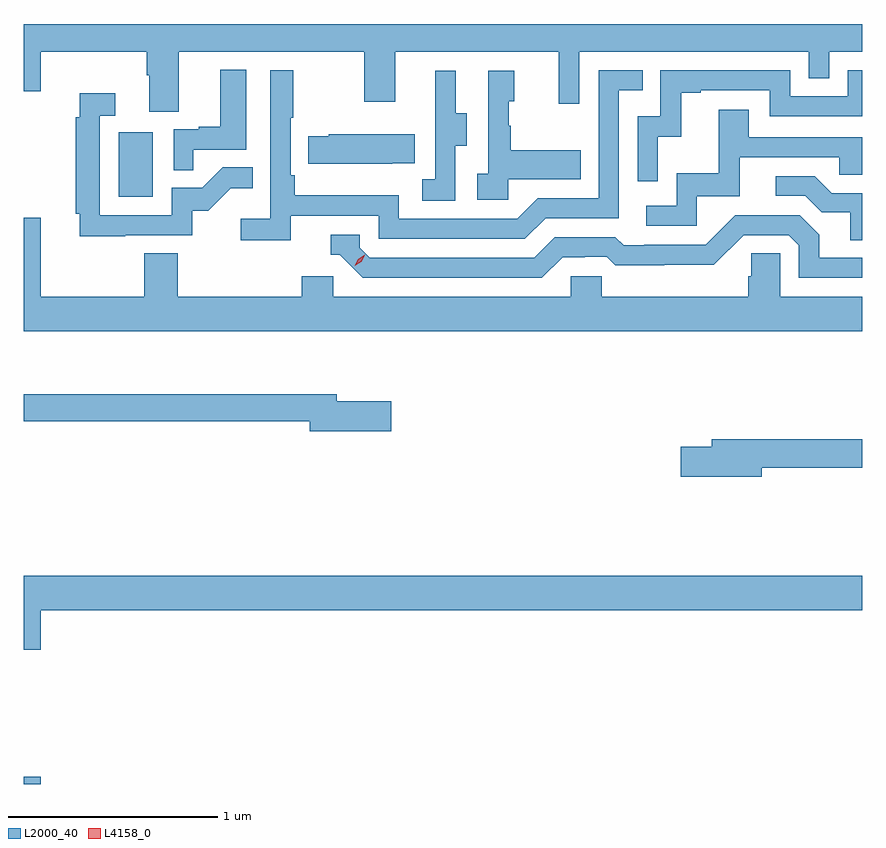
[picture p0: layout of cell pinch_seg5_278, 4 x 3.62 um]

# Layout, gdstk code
import gdstk
lib = gdstk.Library(unit=1e-6, precision=1e-09)
def R(c, l, rs):  # rectangles x0, y0, x1, y1
    for r in rs: c.add(gdstk.rectangle(r[:2], r[2:], *l))
def P(c, l, *ps):  # polygons
    for p in ps: c.add(gdstk.Polygon(p, *l))
L2000_40 = (2000, 40)
L4158_0 = (4158, 0)

pinch_seg5_278 = lib.new_cell('pinch_seg5_278')
R(pinch_seg5_278, L2000_40, [(908.345,911.876,908.428,911.911), (908.798,914.676,908.962,914.983)])
P(pinch_seg5_278, L2000_40, [(908.345,915.18),(908.428,915.18),(908.428,915.368),(908.933,915.368),(908.933,915.256),(908.945,915.256),(908.945,915.082),(909.085,915.082),(909.085,915.368),(909.97,915.368),(909.97,915.129),(910.117,915.129),(910.117,915.368),(910.898,915.368),(910.898,915.12),(910.995,915.12),(910.995,915.368),(912.09,915.368),(912.09,915.241),(912.186,915.241),(912.186,915.368),(912.345,915.368),(912.345,915.5),(908.345,915.5)],
  [(909.155,914.901),(909.406,914.901),(909.406,915.283),(909.284,915.283),(909.284,915.01),(909.181,915.01),(909.181,914.997),(909.06,914.997),(909.06,914.803),(909.155,914.803)],
  [(909.62,914.586),(910.038,914.586),(910.038,914.475),(910.735,914.475),(910.834,914.574),(911.184,914.574),(911.184,915.183),(911.297,915.183),(911.297,915.279),(911.088,915.279),(911.088,914.67),(910.797,914.67),(910.698,914.571),(910.134,914.571),(910.134,914.683),(909.638,914.683),(909.638,914.779),(909.618,914.779),(909.618,915.052),(909.631,915.052),(909.631,915.28),(909.522,915.28),(909.522,914.572),(909.381,914.572),(909.381,914.47),(909.62,914.47)],
  [(911.37,914.963),(911.48,914.963),(911.48,915.171),(911.575,915.171),(911.575,915.183),(911.904,915.183),(911.904,915.06),(912.345,915.06),(912.345,915.279),(912.276,915.279),(912.276,915.156),(912,915.156),(912,915.279),(911.382,915.279),(911.382,915.06),(911.274,915.06),(911.274,914.751),(911.37,914.751)],
  [(910.656,914.759),(911.003,914.759),(911.003,914.899),(910.669,914.899),(910.669,915.014),(910.659,915.014),(910.659,915.132),(910.684,915.132),(910.684,915.277),(910.56,915.277),(910.56,914.786),(910.509,914.786),(910.509,914.661),(910.656,914.661)],
  [(910.404,914.92),(910.459,914.92),(910.459,915.075),(910.405,915.075),(910.405,915.277),(910.307,915.277),(910.307,915.063),(910.308,915.063),(910.308,914.759),(910.245,914.759),(910.245,914.656),(910.404,914.656)],
  [(908.831,914.493),(909.15,914.493),(909.15,914.61),(909.226,914.61),(909.333,914.717),(909.437,914.717),(909.437,914.816),(909.294,914.816),(909.196,914.718),(909.051,914.718),(909.051,914.589),(908.709,914.589),(908.709,915.063),(908.782,915.063),(908.782,915.169),(908.612,915.169),(908.612,915.056),(908.593,915.056),(908.593,914.596),(908.612,914.596),(908.612,914.488),(908.831,914.488)],
  [(911.556,914.679),(911.761,914.679),(911.761,914.865),(912.235,914.865),(912.235,914.781),(912.345,914.781),(912.345,914.961),(911.803,914.961),(911.803,915.091),(911.659,915.091),(911.659,914.788),(911.46,914.788),(911.46,914.634),(911.313,914.634),(911.313,914.538),(911.556,914.538)],
  [(910.103,914.837),(910.211,914.837),(910.211,914.974),(909.801,914.974),(909.801,914.964),(909.703,914.964),(909.703,914.834),(910.103,914.834)],
  [(912.345,914.694),(912.199,914.694),(912.118,914.775),(911.931,914.775),(911.931,914.682),(912.072,914.682),(912.152,914.602),(912.287,914.602),(912.287,914.47),(912.345,914.47)],
  [(910.915,914.388),(911.022,914.388),(911.022,914.391),(911.125,914.391),(911.167,914.349),(911.4,914.349),(911.4,914.351),(911.636,914.351),(911.778,914.493),(911.994,914.493),(912.042,914.445),(912.042,914.289),(912.345,914.289),(912.345,914.385),(912.139,914.385),(912.139,914.495),(912.045,914.589),(911.739,914.589),(911.598,914.448),(911.305,914.448),(911.305,914.445),(911.206,914.445),(911.167,914.484),(910.878,914.484),(910.779,914.385),(909.996,914.385),(909.948,914.433),(909.948,914.496),(909.809,914.496),(909.809,914.4),(909.852,914.4),(909.963,914.289),(910.816,914.289)],
  [(912.345,914.2),(911.952,914.2),(911.952,914.408),(911.815,914.408),(911.815,914.298),(911.801,914.298),(911.801,914.2),(911.103,914.2),(911.103,914.298),(910.953,914.298),(910.953,914.2),(909.822,914.2),(909.822,914.298),(909.671,914.298),(909.671,914.2),(909.08,914.2),(909.08,914.408),(908.92,914.408),(908.92,914.2),(908.428,914.2),(908.428,914.575),(908.345,914.575),(908.345,914.036),(912.345,914.036)],
  [(910.099,913.701),(909.838,913.701),(909.838,913.735),(908.345,913.735),(908.345,913.606),(909.71,913.606),(909.71,913.559),(910.099,913.559)],
  [(911.866,913.384),(912.345,913.384),(912.345,913.52),(911.627,913.52),(911.627,913.484),(911.478,913.484),(911.478,913.342),(911.866,913.342)],
  [(908.428,912.704),(912.345,912.704),(912.345,912.868),(908.345,912.868),(908.345,912.516),(908.428,912.516)])
P(pinch_seg5_278, L4158_0, [(909.925,914.347),(909.925,914.347),(909.941,914.379),(909.972,914.399),(909.973,914.399),(909.973,914.398),(909.956,914.366),(909.925,914.347)])

lib.write_gds('pinch_seg5_278.gds')
